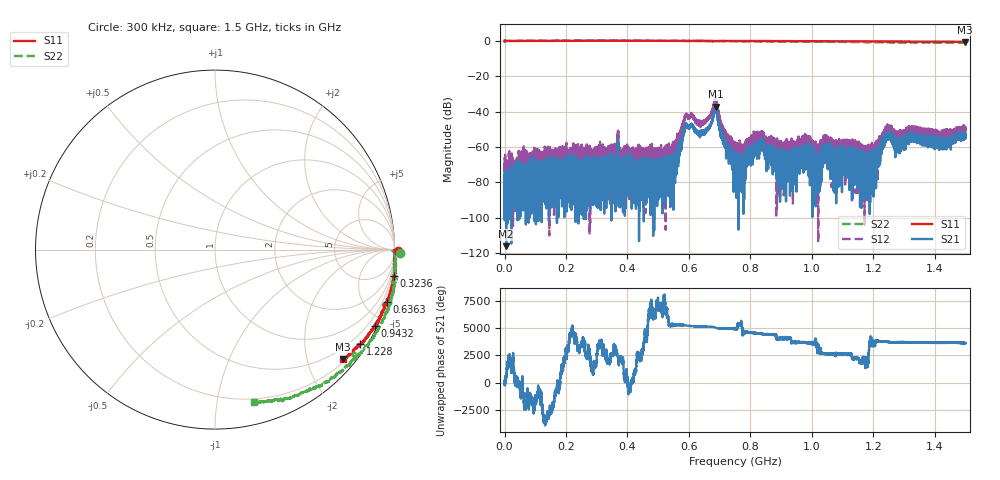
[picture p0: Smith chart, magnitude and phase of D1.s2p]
!Agilent Technologies,N5230C,SG49000117,A.08.50.07
!Agilent N5230C: A.08.50.07
!Date: Thursday, December 07, 2023 05:59:17
!Correction: S11(Full 2 Port(1,2))
!S21(Full 2 Port(1,2))
!S12(Full 2 Port(1,2))
!S22(Full 2 Port(1,2))
!S2P File: Measurements: S11, S21, S12, S22:
# Hz S  RI  R 50
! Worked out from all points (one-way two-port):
!   20001 points, 300 kHz to 1.5 GHz, reference 50 ohm
!   highest |S21| = -37.23 dB at 687 MHz (marker M1); lowest = -116.0 dB at 5.474 MHz (marker M2)
!   lowest |S11| = -0.6 dB at 1.497 GHz (marker M3), VSWR 31.21, Z = 13.3 - j134 ohm
!   |S11| at or under -10 dB: nowhere
!   |S22| runs from -1.2 to 0.3 dB; largest |S21 - S12| = 0.013
!   S11 on the Smith chart (normalised r, x): 300 kHz: -82, -34; 323.6 MHz: -1, -13; 636.3 MHz: -0.09, -6.70; 943.2 MHz: 0.14, -4.42; 1.228 GHz: 0.22, -3.35; 1.5 GHz: 0.25, -2.70
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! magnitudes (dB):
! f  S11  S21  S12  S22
! 300 kHz  0.2  -75.5  -70.4  0.3
! 5.474 MHz  0.0  -116.0  -75.0  0.0
! 250.3 MHz  0.1  -70.2  -64.7  0.2
! 323.6 MHz  0.1  -75.4  -73.2  0.2
! 500.2 MHz  0.1  -79.0  -74.6  0.1
! 549.3 MHz  0.1  -70.3  -64.6  0.1
! 591.3 MHz  0.0  -47.4  -41.2  0.0
! 636.3 MHz  0.0  -52.3  -44.3  0.0
! 687 MHz  -0.1  -37.2  -31.9  -0.3
! 750.1 MHz  0.0  -64.8  -62.4  -0.1
! 774.9 MHz  0.0  -79.0  -71.8  -0.2
! 836.8 MHz  -0.1  -56.7  -53.2  -0.3
! 890.9 MHz  -0.1  -66.7  -64.3  -0.3
! 943.2 MHz  -0.1  -66.2  -58.1  -0.3
! 1 GHz  -0.1  -66.5  -70.6  -0.4
! 1.022 GHz  -0.1  -68.3  -62.1  -0.5
! 1.043 GHz  -0.2  -58.2  -53.6  -0.5
! 1.183 GHz  -0.2  -75.7  -61.2  -0.6
! 1.228 GHz  -0.3  -60.1  -53.9  -0.7
! 1.25 GHz  -0.4  -53.2  -50.3  -0.7
! 1.497 GHz  -0.6  -53.4  -49.1  -1.1
! 1.5 GHz  -0.5  -51.9  -48.6  -1.2
